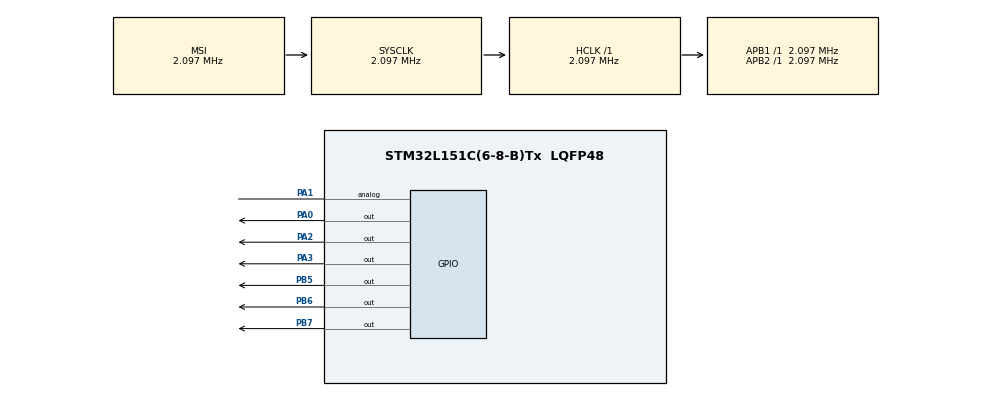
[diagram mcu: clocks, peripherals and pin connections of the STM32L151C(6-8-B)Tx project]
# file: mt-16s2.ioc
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Mcu.Family=STM32L1
Mcu.Name=STM32L151C(6-8-B)Tx
Mcu.Package=LQFP48
NVIC.PriorityGroup=NVIC_PRIORITYGROUP_4
PA0-WKUP1.Signal=GPIO_Output
PA1.Signal=GPIO_Analog
PA13.Mode=Serial_Wire
PA13.Signal=SYS_JTMS-SWDIO
PA14.Mode=Serial_Wire
PA14.Signal=SYS_JTCK-SWCLK
PA2.Signal=GPIO_Output
PA3.Signal=GPIO_Output
PB5.Signal=GPIO_Output
PB6.Signal=GPIO_Output
PB7.Signal=GPIO_Output
ProjectManager.HeapSize=0x200
ProjectManager.StackSize=0x400
ProjectManager.TargetToolchain=MDK-ARM V5.32
RCC.AHBFreq_Value=2097000
RCC.APB1Freq_Value=2097000
RCC.APB2Freq_Value=2097000
RCC.HSE_VALUE=24000000
RCC.HSI_VALUE=16000000
RCC.LSE_VALUE=32768
RCC.MSI_VALUE=2097000
RCC.SYSCLKFreq_VALUE=2097000
RCC.VCOOutputFreq_Value=48000000
board=custom

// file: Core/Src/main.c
/* USER CODE BEGIN Header */
/**
  ******************************************************************************
  * @file           : main.c
  * @brief          : Main program body
  ******************************************************************************
  * @attention
  *
  * Copyright (c) 2022 STMicroelectronics.
  * All rights reserved.
  *
  * This software is licensed under terms that can be found in the LICENSE file
  * in the root directory of this software component.
  * If no LICENSE file comes with this software, it is provided AS-IS.
  *
  ******************************************************************************
  */
/* USER CODE END Header */
#include "main.h"

/* USER CODE BEGIN PV */
const char Text1_1[Len1]={0x20, 0x20, 0x20, 0x20, 0xCC, 0xDD, 0xCB, 0xD2, 0x20, 0x31, 0x36, 0x53, 0x32, 0x20, 0x20, 0x20};
const char Text2_1[Len2]={0x20, 0x20, 0x49, 0x43, 0x20, 0x4E, 0x52, 0x4E, 0x55, 0x20, 0x4D, 0x45, 0x50, 0x48, 0x49, 0x20};
/* USER CODE END PV */

void SystemClock_Config(void);
static void MX_GPIO_Init(void);

void Clear_Display(void);
void Display_Init(void);
void LCD_D(uint8_t DATA);

void WriteCmd(uint8_t b);
void WriteData(uint8_t b);
void WriteByte(uint8_t b, uint8_t cd);

int main(void)
{
  //int i;

  /* MCU Configuration--------------------------------------------------------*/

  /* Reset of all peripherals, Initializes the Flash interface and the Systick. */
  HAL_Init();

  /* Configure the system clock */
  SystemClock_Config();

  /* Initialize all configured peripherals */
  MX_GPIO_Init();
  /* USER CODE BEGIN 2 */
  Display_Init();
  /* USER CODE END 2 */

  /* Infinite loop */
  while (1)
  {

    /* USER CODE BEGIN 3 */
    for(uint8_t i = 1; i <= 16; i++)
    {
      HAL_Delay(10);
      Clear_Display();
      WriteCmd(0x80);
      for(uint8_t j = Len1 - i; j < Len1; j++)
      {
        WriteData(Text1_1[j]);
      }

      WriteCmd(0x80 + 0x40);
      for(uint8_t k = Len2 - i; k < Len2; k++)
      {
        WriteData(Text2_1[k]);
      }
    }
    for(uint8_t i = 1; i <= 16; i++)
    {
      HAL_Delay(10);
      Clear_Display();
      WriteCmd(0x80 + i);
      for(uint8_t j = 0; j < Len1 - i; j++)
      {
        WriteData(Text1_1[j]);
      }

      WriteCmd(0x80 + 0x40 + i);
      for(uint8_t k = 0; k < Len2 - i; k++)
      {
        WriteData(Text2_1[k]);
        HAL_Delay(2);
      }
    }
  }
  /* USER CODE END 3 */
}

void SystemClock_Config(void)
{
  RCC_OscInitTypeDef RCC_OscInitStruct = {0};
  RCC_ClkInitTypeDef RCC_ClkInitStruct = {0};

  /** Configure the main internal regulator output voltage
  */
  __HAL_PWR_VOLTAGESCALING_CONFIG(PWR_REGULATOR_VOLTAGE_SCALE1);
  /** Initializes the RCC Oscillators according to the specified parameters
  * in the RCC_OscInitTypeDef structure.
  */
  RCC_OscInitStruct.OscillatorType = RCC_OSCILLATORTYPE_MSI;
  RCC_OscInitStruct.MSIState = RCC_MSI_ON;
  RCC_OscInitStruct.MSICalibrationValue = 0;
  RCC_OscInitStruct.MSIClockRange = RCC_MSIRANGE_5;
  RCC_OscInitStruct.PLL.PLLState = RCC_PLL_NONE;
  if (HAL_RCC_OscConfig(&RCC_OscInitStruct) != HAL_OK)
  {
    Error_Handler();
  }
  /** Initializes the CPU, AHB and APB buses clocks
  */
  RCC_ClkInitStruct.ClockType = RCC_CLOCKTYPE_HCLK|RCC_CLOCKTYPE_SYSCLK
                              |RCC_CLOCKTYPE_PCLK1|RCC_CLOCKTYPE_PCLK2;
  RCC_ClkInitStruct.SYSCLKSource = RCC_SYSCLKSOURCE_MSI;
  RCC_ClkInitStruct.AHBCLKDivider = RCC_SYSCLK_DIV1;
  RCC_ClkInitStruct.APB1CLKDivider = RCC_HCLK_DIV1;
  RCC_ClkInitStruct.APB2CLKDivider = RCC_HCLK_DIV1;

  if (HAL_RCC_ClockConfig(&RCC_ClkInitStruct, FLASH_LATENCY_0) != HAL_OK)
  {
    Error_Handler();
  }
}

static void MX_GPIO_Init(void)
{
  GPIO_InitTypeDef GPIO_InitStruct = {0};

  /* GPIO Ports Clock Enable */
  __HAL_RCC_GPIOA_CLK_ENABLE();
  __HAL_RCC_GPIOB_CLK_ENABLE();

  /*Configure GPIO pin Output Level */
  HAL_GPIO_WritePin(GPIOA, GPIO_PIN_0|GPIO_PIN_1|GPIO_PIN_2|GPIO_PIN_3, GPIO_PIN_RESET);

  /*Configure GPIO pin Output Level */
  HAL_GPIO_WritePin(GPIOB, GPIO_PIN_5|GPIO_PIN_6|GPIO_PIN_7, GPIO_PIN_RESET);

  /*Configure GPIO pins : PA0 PA2 PA3 */
  GPIO_InitStruct.Pin = GPIO_PIN_0|GPIO_PIN_1|GPIO_PIN_2|GPIO_PIN_3;
  GPIO_InitStruct.Mode = GPIO_MODE_OUTPUT_PP;
  GPIO_InitStruct.Pull = GPIO_NOPULL;
  GPIO_InitStruct.Speed = GPIO_SPEED_FREQ_LOW;
  HAL_GPIO_Init(GPIOA, &GPIO_InitStruct);

  /*Configure GPIO pins : PB5 PB6 PB7 */
  GPIO_InitStruct.Pin = GPIO_PIN_5|GPIO_PIN_6|GPIO_PIN_7;
  GPIO_InitStruct.Mode = GPIO_MODE_OUTPUT_PP;
  GPIO_InitStruct.Pull = GPIO_NOPULL;
  GPIO_InitStruct.Speed = GPIO_SPEED_FREQ_LOW;
  HAL_GPIO_Init(GPIOB, &GPIO_InitStruct);

}

/* USER CODE BEGIN 4 */
void Display_Init(void)
{

  HAL_GPIO_WritePin(E_PORT, E_PIN, 0);
	WriteCmd(0x2A);		//SET 4-bit mode
	WriteCmd(0x0C);		//SET cursor mode
	WriteCmd(0x01);		//CLEAR display
	WriteCmd(0x06);		//SET cursor direction
}

//set data pins values
void LCD_D(uint8_t DATA)
{
  HAL_GPIO_WritePin(B4_PORT, B4_PIN, 0x01 & DATA);
  HAL_GPIO_WritePin(B5_PORT, B5_PIN, 0x01 & (DATA >> 1));
  HAL_GPIO_WritePin(B6_PORT, B6_PIN, 0x01 & (DATA >> 2));
  HAL_GPIO_WritePin(B7_PORT, B7_PIN, 0x01 & (DATA >> 3));
}
void WriteCmd(uint8_t b)
{
  WriteByte(b,0);
}

void WriteData(uint8_t b)
{
  WriteByte(b,1);
}

void WriteByte(uint8_t b, uint8_t cd) {

	HAL_GPIO_WritePin(RW_PORT, RW_PIN, 0);
  HAL_GPIO_WritePin(A0_PORT, A0_PIN, cd);

  //write bits 7-4
  LCD_D(b>>4);
	HAL_Delay(1);
	HAL_GPIO_WritePin(E_PORT, E_PIN, 1);
  HAL_Delay(1);
	HAL_GPIO_WritePin(E_PORT, E_PIN, 0);
  HAL_Delay(1);

  //write bits 3-0
	LCD_D(b&0x0F);
	HAL_GPIO_WritePin(E_PORT, E_PIN, 1);
  HAL_Delay(1);
	HAL_GPIO_WritePin(E_PORT, E_PIN, 0);
  HAL_Delay(1);
}

void Clear_Display(void)
{
  WriteCmd(0x01);
}

/* USER CODE END 4 */

void Error_Handler(void)
{
  __disable_irq();
  while (1)
  {
  }
}
